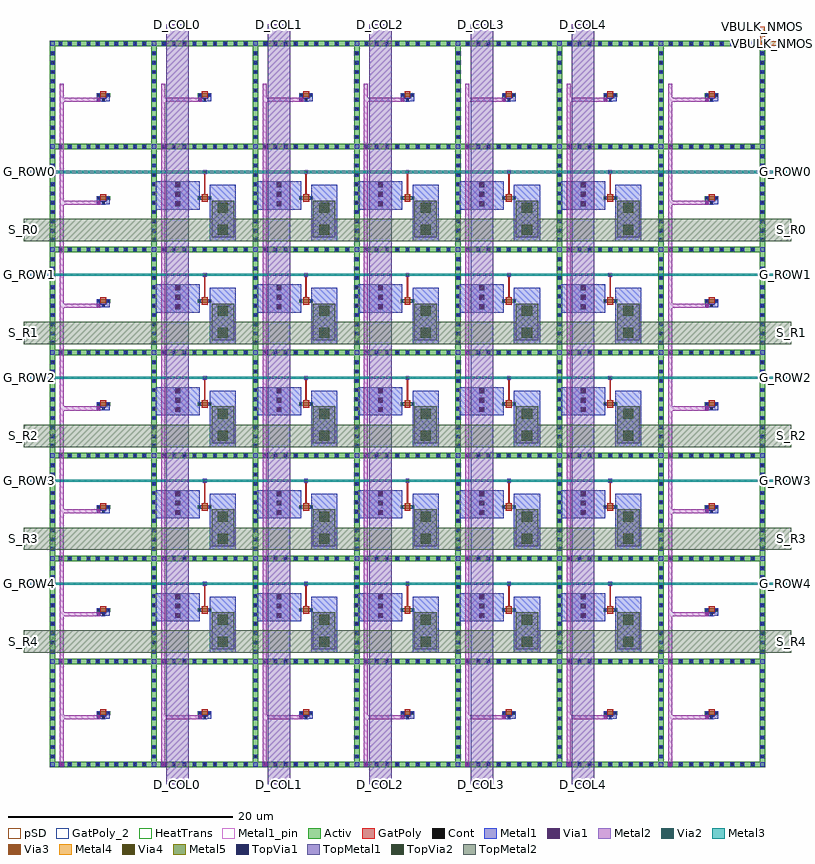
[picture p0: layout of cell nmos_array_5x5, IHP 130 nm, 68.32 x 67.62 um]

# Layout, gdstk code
import gdstk
lib = gdstk.Library(unit=1e-6, precision=1e-09)
def R(c, l, rs):  # rectangles x0, y0, x1, y1
    for r in rs: c.add(gdstk.rectangle(r[:2], r[2:], *l))
def A(c, l, x, y, w, h, nx, ny, dx, dy):  # array of equal rectangles
    R(c, l, [(x+i*dx, y+j*dy, x+i*dx+w, y+j*dy+h) for i in range(nx) for j in range(ny)])
Activ = (1, 0)
GatPoly = (5, 0)
GatPoly_2 = (5, 2)
Cont = (6, 0)
Metal1 = (8, 0)
Metal1_pin = (8, 2)
Metal2 = (10, 0)
pSD = (14, 0)
Via1 = (19, 0)
Via2 = (29, 0)
Metal3 = (30, 0)
Via3 = (49, 0)
Metal4 = (50, 0)
HeatTrans = (51, 0)
Via4 = (66, 0)
Metal5 = (67, 0)
TopVia1 = (125, 0)
TopMetal1 = (126, 0)
TopVia2 = (133, 0)
TopMetal2 = (134, 0)

nmos = lib.new_cell('nmos')
R(nmos, Activ, [(0,0,0.3,0.3), (0,0,1.2,0.3), (0.9,0,1.2,0.3)])
R(nmos, GatPoly, [(0.34,-0.18,0.86,0.48)])
R(nmos, GatPoly_2, [(0.34,-0.18,0.86,0.48)])
R(nmos, Cont, [(0.07,0.07,0.23,0.23), (0.97,0.07,1.13,0.23)])
R(nmos, Metal1, [(0.07,0,0.23,0.3), (0.97,0,1.13,0.3)])
R(nmos, Metal1_pin, [(0.07,0,0.23,0.3), (0.97,0,1.13,0.3)])
R(nmos, HeatTrans, [(0.34,-0.18,0.86,0.48)])
nmos.add(gdstk.Label('nmos', (0.6,0.15), layer=63, texttype=0))
nmos.add(gdstk.Label('nmos', (0.6,0.15), layer=51, texttype=0))

nmos_array_5x5 = lib.new_cell('nmos_array_5x5')
A(nmos_array_5x5, Activ, 0, 0, 0.5, 64.62, 8, 1, 9.02, 0)
A(nmos_array_5x5, Activ, 0, 0, 63.64, 0.5, 1, 8, 0, 9.16)
A(nmos_array_5x5, GatPoly, 4.695, 4.43, 0.13, 0.2, 7, 2, 9.02, 54.96)
A(nmos_array_5x5, GatPoly, 4.695, 13.59, 0.13, 0.2, 1, 5, 0, 9.16)
A(nmos_array_5x5, GatPoly, 58.815, 13.59, 0.13, 0.2, 1, 5, 0, 9.16)
A(nmos_array_5x5, GatPoly, 13.715, 14.32, 0.13, 2, 5, 5, 9.02, 9.16)
A(nmos_array_5x5, Cont, 0.83, 0.14, 0.22, 0.22, 10, 8, 0.83, 9.16)
A(nmos_array_5x5, Cont, 10.02, 0.14, 0.22, 0.22, 1, 8, 0, 9.16)
A(nmos_array_5x5, Cont, 10.932, 0.14, 0.22, 0.22, 1, 8, 0, 9.16)
A(nmos_array_5x5, Cont, 11.845, 0.14, 0.22, 0.22, 1, 8, 0, 9.16)
A(nmos_array_5x5, Cont, 12.757, 0.14, 0.22, 0.22, 1, 8, 0, 9.16)
A(nmos_array_5x5, Cont, 13.67, 0.14, 0.22, 0.22, 1, 8, 0, 9.16)
A(nmos_array_5x5, Cont, 14.582, 0.14, 0.22, 0.22, 1, 8, 0, 9.16)
A(nmos_array_5x5, Cont, 15.495, 0.14, 0.22, 0.22, 1, 8, 0, 9.16)
A(nmos_array_5x5, Cont, 16.407, 0.14, 0.22, 0.22, 1, 8, 0, 9.16)
A(nmos_array_5x5, Cont, 17.32, 0.14, 0.22, 0.22, 1, 8, 0, 9.16)
A(nmos_array_5x5, Cont, 19.04, 0.14, 0.22, 0.22, 1, 8, 0, 9.16)
A(nmos_array_5x5, Cont, 19.952, 0.14, 0.22, 0.22, 1, 8, 0, 9.16)
A(nmos_array_5x5, Cont, 20.865, 0.14, 0.22, 0.22, 1, 8, 0, 9.16)
A(nmos_array_5x5, Cont, 21.777, 0.14, 0.22, 0.22, 1, 8, 0, 9.16)
A(nmos_array_5x5, Cont, 22.69, 0.14, 0.22, 0.22, 1, 8, 0, 9.16)
A(nmos_array_5x5, Cont, 23.602, 0.14, 0.22, 0.22, 1, 8, 0, 9.16)
A(nmos_array_5x5, Cont, 24.515, 0.14, 0.22, 0.22, 1, 8, 0, 9.16)
A(nmos_array_5x5, Cont, 25.427, 0.14, 0.22, 0.22, 1, 8, 0, 9.16)
A(nmos_array_5x5, Cont, 26.34, 0.14, 0.22, 0.22, 1, 8, 0, 9.16)
A(nmos_array_5x5, Cont, 28.06, 0.14, 0.22, 0.22, 1, 8, 0, 9.16)
A(nmos_array_5x5, Cont, 28.972, 0.14, 0.22, 0.22, 1, 8, 0, 9.16)
A(nmos_array_5x5, Cont, 29.885, 0.14, 0.22, 0.22, 1, 8, 0, 9.16)
A(nmos_array_5x5, Cont, 30.797, 0.14, 0.22, 0.22, 1, 8, 0, 9.16)
A(nmos_array_5x5, Cont, 31.71, 0.14, 0.22, 0.22, 1, 8, 0, 9.16)
A(nmos_array_5x5, Cont, 32.622, 0.14, 0.22, 0.22, 1, 8, 0, 9.16)
A(nmos_array_5x5, Cont, 33.535, 0.14, 0.22, 0.22, 1, 8, 0, 9.16)
A(nmos_array_5x5, Cont, 34.447, 0.14, 0.22, 0.22, 1, 8, 0, 9.16)
A(nmos_array_5x5, Cont, 35.36, 0.14, 0.22, 0.22, 1, 8, 0, 9.16)
A(nmos_array_5x5, Cont, 37.08, 0.14, 0.22, 0.22, 1, 8, 0, 9.16)
A(nmos_array_5x5, Cont, 37.992, 0.14, 0.22, 0.22, 1, 8, 0, 9.16)
A(nmos_array_5x5, Cont, 38.905, 0.14, 0.22, 0.22, 1, 8, 0, 9.16)
A(nmos_array_5x5, Cont, 39.817, 0.14, 0.22, 0.22, 1, 8, 0, 9.16)
A(nmos_array_5x5, Cont, 40.73, 0.14, 0.22, 0.22, 1, 8, 0, 9.16)
A(nmos_array_5x5, Cont, 41.642, 0.14, 0.22, 0.22, 1, 8, 0, 9.16)
A(nmos_array_5x5, Cont, 42.555, 0.14, 0.22, 0.22, 1, 8, 0, 9.16)
A(nmos_array_5x5, Cont, 43.467, 0.14, 0.22, 0.22, 1, 8, 0, 9.16)
A(nmos_array_5x5, Cont, 44.38, 0.14, 0.22, 0.22, 1, 8, 0, 9.16)
A(nmos_array_5x5, Cont, 46.1, 0.14, 0.22, 0.22, 1, 8, 0, 9.16)
A(nmos_array_5x5, Cont, 47.012, 0.14, 0.22, 0.22, 1, 8, 0, 9.16)
A(nmos_array_5x5, Cont, 47.925, 0.14, 0.22, 0.22, 1, 8, 0, 9.16)
A(nmos_array_5x5, Cont, 48.837, 0.14, 0.22, 0.22, 1, 8, 0, 9.16)
A(nmos_array_5x5, Cont, 49.75, 0.14, 0.22, 0.22, 1, 8, 0, 9.16)
A(nmos_array_5x5, Cont, 50.662, 0.14, 0.22, 0.22, 1, 8, 0, 9.16)
A(nmos_array_5x5, Cont, 51.575, 0.14, 0.22, 0.22, 1, 8, 0, 9.16)
A(nmos_array_5x5, Cont, 52.487, 0.14, 0.22, 0.22, 1, 8, 0, 9.16)
A(nmos_array_5x5, Cont, 53.4, 0.14, 0.22, 0.22, 1, 8, 0, 9.16)
A(nmos_array_5x5, Cont, 55.12, 0.14, 0.22, 0.22, 1, 8, 0, 9.16)
A(nmos_array_5x5, Cont, 56.032, 0.14, 0.22, 0.22, 1, 8, 0, 9.16)
A(nmos_array_5x5, Cont, 56.945, 0.14, 0.22, 0.22, 1, 8, 0, 9.16)
A(nmos_array_5x5, Cont, 57.857, 0.14, 0.22, 0.22, 1, 8, 0, 9.16)
A(nmos_array_5x5, Cont, 59.682, 0.14, 0.22, 0.22, 1, 8, 0, 9.16)
A(nmos_array_5x5, Cont, 60.595, 0.14, 0.22, 0.22, 1, 8, 0, 9.16)
A(nmos_array_5x5, Cont, 61.507, 0.14, 0.22, 0.22, 1, 8, 0, 9.16)
A(nmos_array_5x5, Cont, 62.42, 0.14, 0.22, 0.22, 1, 8, 0, 9.16)
A(nmos_array_5x5, Cont, 0.14, 0.844, 0.22, 0.22, 8, 10, 9.02, 0.844)
A(nmos_array_5x5, Cont, 4.65, 4.32, 0.22, 0.22, 7, 2, 9.02, 54.96)
A(nmos_array_5x5, Cont, 0.14, 10.16, 0.22, 0.22, 8, 2, 9.02, 0.826)
A(nmos_array_5x5, Cont, 0.14, 11.813, 0.22, 0.22, 8, 2, 9.02, 0.827)
A(nmos_array_5x5, Cont, 0.14, 13.466, 0.22, 0.22, 8, 3, 9.02, 0.827)
A(nmos_array_5x5, Cont, 4.65, 13.48, 0.22, 0.22, 1, 5, 0, 9.16)
A(nmos_array_5x5, Cont, 0.14, 15.946, 0.22, 0.22, 8, 3, 9.02, 0.827)
A(nmos_array_5x5, Cont, 13.67, 16.21, 0.22, 0.22, 5, 5, 9.02, 9.16)
A(nmos_array_5x5, Cont, 0.14, 19.32, 0.22, 0.22, 8, 2, 9.02, 0.826)
A(nmos_array_5x5, Cont, 0.14, 20.973, 0.22, 0.22, 8, 2, 9.02, 0.827)
A(nmos_array_5x5, Cont, 0.14, 22.626, 0.22, 0.22, 8, 3, 9.02, 0.827)
A(nmos_array_5x5, Cont, 0.14, 25.106, 0.22, 0.22, 8, 3, 9.02, 0.827)
A(nmos_array_5x5, Cont, 0.14, 28.48, 0.22, 0.22, 8, 2, 9.02, 0.826)
A(nmos_array_5x5, Cont, 0.14, 30.133, 0.22, 0.22, 8, 2, 9.02, 0.827)
A(nmos_array_5x5, Cont, 0.14, 31.786, 0.22, 0.22, 8, 3, 9.02, 0.827)
A(nmos_array_5x5, Cont, 0.14, 34.266, 0.22, 0.22, 8, 3, 9.02, 0.827)
A(nmos_array_5x5, Cont, 0.14, 37.64, 0.22, 0.22, 8, 2, 9.02, 0.826)
A(nmos_array_5x5, Cont, 0.14, 39.293, 0.22, 0.22, 8, 2, 9.02, 0.827)
A(nmos_array_5x5, Cont, 0.14, 40.946, 0.22, 0.22, 8, 3, 9.02, 0.827)
A(nmos_array_5x5, Cont, 0.14, 43.426, 0.22, 0.22, 8, 3, 9.02, 0.827)
A(nmos_array_5x5, Cont, 0.14, 46.8, 0.22, 0.22, 8, 2, 9.02, 0.826)
A(nmos_array_5x5, Cont, 0.14, 48.453, 0.22, 0.22, 8, 2, 9.02, 0.827)
A(nmos_array_5x5, Cont, 0.14, 50.106, 0.22, 0.22, 8, 3, 9.02, 0.827)
A(nmos_array_5x5, Cont, 0.14, 52.586, 0.22, 0.22, 8, 3, 9.02, 0.827)
A(nmos_array_5x5, Cont, 0.14, 55.96, 0.22, 0.22, 8, 2, 9.02, 0.826)
A(nmos_array_5x5, Cont, 0.14, 57.613, 0.22, 0.22, 8, 2, 9.02, 0.827)
A(nmos_array_5x5, Cont, 0.14, 59.266, 0.22, 0.22, 8, 3, 9.02, 0.827)
A(nmos_array_5x5, Cont, 0.14, 61.746, 0.22, 0.22, 8, 3, 9.02, 0.827)
R(nmos_array_5x5, Cont, [(58.77,0.14,58.99,0.36), (58.77,9.3,58.99,9.52), (58.77,13.48,58.99,13.7), (58.77,18.46,58.99,18.68), (58.77,22.64,58.99,22.86), (58.77,27.62,58.99,27.84), (58.77,31.8,58.99,32.02), (58.77,36.78,58.99,37), (58.77,40.96,58.99,41.18), (58.77,45.94,58.99,46.16), (58.77,50.12,58.99,50.34), (58.77,55.1,58.99,55.32), (58.77,64.26,58.99,64.48)])
A(nmos_array_5x5, Metal1, 0.77, 0.08, 0.34, 0.34, 10, 8, 0.83, 9.16)
A(nmos_array_5x5, Metal1, 9.96, 0.08, 0.34, 0.34, 1, 8, 0, 9.16)
A(nmos_array_5x5, Metal1, 10.872, 0.08, 0.34, 0.34, 1, 8, 0, 9.16)
A(nmos_array_5x5, Metal1, 11.785, 0.08, 0.34, 0.34, 1, 8, 0, 9.16)
A(nmos_array_5x5, Metal1, 12.697, 0.08, 0.34, 0.34, 1, 8, 0, 9.16)
A(nmos_array_5x5, Metal1, 13.61, 0.08, 0.34, 0.34, 1, 8, 0, 9.16)
A(nmos_array_5x5, Metal1, 14.522, 0.08, 0.34, 0.34, 1, 8, 0, 9.16)
A(nmos_array_5x5, Metal1, 15.435, 0.08, 0.34, 0.34, 1, 8, 0, 9.16)
A(nmos_array_5x5, Metal1, 16.347, 0.08, 0.34, 0.34, 1, 8, 0, 9.16)
A(nmos_array_5x5, Metal1, 17.26, 0.08, 0.34, 0.34, 1, 8, 0, 9.16)
A(nmos_array_5x5, Metal1, 18.98, 0.08, 0.34, 0.34, 1, 8, 0, 9.16)
A(nmos_array_5x5, Metal1, 19.892, 0.08, 0.34, 0.34, 1, 8, 0, 9.16)
A(nmos_array_5x5, Metal1, 20.805, 0.08, 0.34, 0.34, 1, 8, 0, 9.16)
A(nmos_array_5x5, Metal1, 21.717, 0.08, 0.34, 0.34, 1, 8, 0, 9.16)
A(nmos_array_5x5, Metal1, 22.63, 0.08, 0.34, 0.34, 1, 8, 0, 9.16)
A(nmos_array_5x5, Metal1, 23.542, 0.08, 0.34, 0.34, 1, 8, 0, 9.16)
A(nmos_array_5x5, Metal1, 24.455, 0.08, 0.34, 0.34, 1, 8, 0, 9.16)
A(nmos_array_5x5, Metal1, 25.367, 0.08, 0.34, 0.34, 1, 8, 0, 9.16)
A(nmos_array_5x5, Metal1, 26.28, 0.08, 0.34, 0.34, 1, 8, 0, 9.16)
A(nmos_array_5x5, Metal1, 28, 0.08, 0.34, 0.34, 1, 8, 0, 9.16)
A(nmos_array_5x5, Metal1, 28.912, 0.08, 0.34, 0.34, 1, 8, 0, 9.16)
A(nmos_array_5x5, Metal1, 29.825, 0.08, 0.34, 0.34, 1, 8, 0, 9.16)
A(nmos_array_5x5, Metal1, 30.737, 0.08, 0.34, 0.34, 1, 8, 0, 9.16)
A(nmos_array_5x5, Metal1, 31.65, 0.08, 0.34, 0.34, 1, 8, 0, 9.16)
A(nmos_array_5x5, Metal1, 32.562, 0.08, 0.34, 0.34, 1, 8, 0, 9.16)
A(nmos_array_5x5, Metal1, 33.475, 0.08, 0.34, 0.34, 1, 8, 0, 9.16)
A(nmos_array_5x5, Metal1, 34.387, 0.08, 0.34, 0.34, 1, 8, 0, 9.16)
A(nmos_array_5x5, Metal1, 35.3, 0.08, 0.34, 0.34, 1, 8, 0, 9.16)
A(nmos_array_5x5, Metal1, 37.02, 0.08, 0.34, 0.34, 1, 8, 0, 9.16)
A(nmos_array_5x5, Metal1, 37.932, 0.08, 0.34, 0.34, 1, 8, 0, 9.16)
A(nmos_array_5x5, Metal1, 38.845, 0.08, 0.34, 0.34, 1, 8, 0, 9.16)
A(nmos_array_5x5, Metal1, 39.757, 0.08, 0.34, 0.34, 1, 8, 0, 9.16)
A(nmos_array_5x5, Metal1, 40.67, 0.08, 0.34, 0.34, 1, 8, 0, 9.16)
A(nmos_array_5x5, Metal1, 41.582, 0.08, 0.34, 0.34, 1, 8, 0, 9.16)
A(nmos_array_5x5, Metal1, 42.495, 0.08, 0.34, 0.34, 1, 8, 0, 9.16)
A(nmos_array_5x5, Metal1, 43.407, 0.08, 0.34, 0.34, 1, 8, 0, 9.16)
A(nmos_array_5x5, Metal1, 44.32, 0.08, 0.34, 0.34, 1, 8, 0, 9.16)
A(nmos_array_5x5, Metal1, 46.04, 0.08, 0.34, 0.34, 1, 8, 0, 9.16)
A(nmos_array_5x5, Metal1, 46.952, 0.08, 0.34, 0.34, 1, 8, 0, 9.16)
A(nmos_array_5x5, Metal1, 47.865, 0.08, 0.34, 0.34, 1, 8, 0, 9.16)
A(nmos_array_5x5, Metal1, 48.777, 0.08, 0.34, 0.34, 1, 8, 0, 9.16)
A(nmos_array_5x5, Metal1, 49.69, 0.08, 0.34, 0.34, 1, 8, 0, 9.16)
A(nmos_array_5x5, Metal1, 50.602, 0.08, 0.34, 0.34, 1, 8, 0, 9.16)
A(nmos_array_5x5, Metal1, 51.515, 0.08, 0.34, 0.34, 1, 8, 0, 9.16)
A(nmos_array_5x5, Metal1, 52.427, 0.08, 0.34, 0.34, 1, 8, 0, 9.16)
A(nmos_array_5x5, Metal1, 53.34, 0.08, 0.34, 0.34, 1, 8, 0, 9.16)
A(nmos_array_5x5, Metal1, 55.06, 0.08, 0.34, 0.34, 1, 8, 0, 9.16)
A(nmos_array_5x5, Metal1, 55.972, 0.08, 0.34, 0.34, 1, 8, 0, 9.16)
A(nmos_array_5x5, Metal1, 56.885, 0.08, 0.34, 0.34, 1, 8, 0, 9.16)
A(nmos_array_5x5, Metal1, 57.797, 0.08, 0.34, 0.34, 1, 8, 0, 9.16)
A(nmos_array_5x5, Metal1, 59.622, 0.08, 0.34, 0.34, 1, 8, 0, 9.16)
A(nmos_array_5x5, Metal1, 60.535, 0.08, 0.34, 0.34, 1, 8, 0, 9.16)
A(nmos_array_5x5, Metal1, 61.447, 0.08, 0.34, 0.34, 1, 8, 0, 9.16)
A(nmos_array_5x5, Metal1, 62.36, 0.08, 0.34, 0.34, 1, 8, 0, 9.16)
A(nmos_array_5x5, Metal1, 0.08, 0.784, 0.34, 0.34, 8, 10, 9.02, 0.844)
A(nmos_array_5x5, Metal1, 4.59, 4.26, 0.34, 0.34, 7, 2, 9.02, 54.96)
A(nmos_array_5x5, Metal1, 4.17, 4.29, 1.18, 0.28, 7, 2, 9.02, 54.96)
A(nmos_array_5x5, Metal1, 4.17, 4.29, 0.28, 0.68, 1, 7, 0, 9.16)
A(nmos_array_5x5, Metal1, 5.07, 4.29, 0.28, 0.68, 1, 7, 0, 9.16)
A(nmos_array_5x5, Metal1, 58.29, 4.29, 0.28, 0.68, 1, 7, 0, 9.16)
A(nmos_array_5x5, Metal1, 59.19, 4.29, 0.28, 0.68, 1, 7, 0, 9.16)
A(nmos_array_5x5, Metal1, 0.05, 9.21, 0.4, 0.4, 8, 7, 9.02, 9.16)
A(nmos_array_5x5, Metal1, 0.08, 10.1, 0.34, 0.34, 8, 2, 9.02, 0.826)
A(nmos_array_5x5, Metal1, 14.23, 10.16, 2.32, 5.02, 5, 5, 9.02, 9.16)
A(nmos_array_5x5, Metal1, 0.08, 11.753, 0.34, 0.34, 8, 2, 9.02, 0.827)
A(nmos_array_5x5, Metal1, 9.41, 12.971, 3.92, 2.499, 5, 5, 9.02, 9.16)
A(nmos_array_5x5, Metal1, 0.08, 13.406, 0.34, 0.34, 8, 3, 9.02, 0.827)
A(nmos_array_5x5, Metal1, 4.59, 13.42, 0.34, 0.34, 1, 5, 0, 9.16)
A(nmos_array_5x5, Metal1, 4.17, 13.45, 1.18, 0.28, 1, 5, 0, 9.16)
A(nmos_array_5x5, Metal1, 58.29, 13.45, 1.18, 0.28, 1, 5, 0, 9.16)
A(nmos_array_5x5, Metal1, 0.08, 15.886, 0.34, 0.34, 8, 3, 9.02, 0.827)
A(nmos_array_5x5, Metal1, 13.62, 16.16, 0.32, 0.32, 5, 5, 9.02, 9.16)
A(nmos_array_5x5, Metal1, 0.08, 19.26, 0.34, 0.34, 8, 2, 9.02, 0.826)
A(nmos_array_5x5, Metal1, 0.08, 20.913, 0.34, 0.34, 8, 2, 9.02, 0.827)
A(nmos_array_5x5, Metal1, 0.08, 22.566, 0.34, 0.34, 8, 3, 9.02, 0.827)
A(nmos_array_5x5, Metal1, 0.08, 25.046, 0.34, 0.34, 8, 3, 9.02, 0.827)
A(nmos_array_5x5, Metal1, 0.08, 28.42, 0.34, 0.34, 8, 2, 9.02, 0.826)
A(nmos_array_5x5, Metal1, 0.08, 30.073, 0.34, 0.34, 8, 2, 9.02, 0.827)
A(nmos_array_5x5, Metal1, 0.08, 31.726, 0.34, 0.34, 8, 3, 9.02, 0.827)
A(nmos_array_5x5, Metal1, 0.08, 34.206, 0.34, 0.34, 8, 3, 9.02, 0.827)
A(nmos_array_5x5, Metal1, 0.08, 37.58, 0.34, 0.34, 8, 2, 9.02, 0.826)
A(nmos_array_5x5, Metal1, 0.08, 39.233, 0.34, 0.34, 8, 2, 9.02, 0.827)
A(nmos_array_5x5, Metal1, 0.08, 40.886, 0.34, 0.34, 8, 3, 9.02, 0.827)
A(nmos_array_5x5, Metal1, 0.08, 43.366, 0.34, 0.34, 8, 3, 9.02, 0.827)
A(nmos_array_5x5, Metal1, 0.08, 46.74, 0.34, 0.34, 8, 2, 9.02, 0.826)
A(nmos_array_5x5, Metal1, 0.08, 48.393, 0.34, 0.34, 8, 2, 9.02, 0.827)
A(nmos_array_5x5, Metal1, 0.08, 50.046, 0.34, 0.34, 8, 3, 9.02, 0.827)
A(nmos_array_5x5, Metal1, 0.08, 52.526, 0.34, 0.34, 8, 3, 9.02, 0.827)
A(nmos_array_5x5, Metal1, 0.08, 55.9, 0.34, 0.34, 8, 2, 9.02, 0.826)
A(nmos_array_5x5, Metal1, 0.08, 57.553, 0.34, 0.34, 8, 2, 9.02, 0.827)
A(nmos_array_5x5, Metal1, 0.08, 59.206, 0.34, 0.34, 8, 3, 9.02, 0.827)
A(nmos_array_5x5, Metal1, 0.08, 61.686, 0.34, 0.34, 8, 3, 9.02, 0.827)
R(nmos_array_5x5, Metal1, [(0.05,0.05,0.45,0.45), (0.86,0.05,1.26,0.45), (9.07,0.05,9.47,0.45), (9.88,0.05,10.28,0.45), (18.09,0.05,18.49,0.45), (18.9,0.05,19.3,0.45), (27.11,0.05,27.51,0.45), (27.92,0.05,28.32,0.45), (36.13,0.05,36.53,0.45), (36.94,0.05,37.34,0.45), (45.15,0.05,45.55,0.45), (45.96,0.05,46.36,0.45), (54.17,0.05,54.57,0.45), (54.98,0.05,55.38,0.45), (63.19,0.05,63.59,0.45), (58.71,0.08,59.05,0.42), (13.19,4.29,13.47,4.97), (14.09,4.29,14.37,4.97), (22.21,4.29,22.49,4.97), (23.11,4.29,23.39,4.97), (31.23,4.29,31.51,4.97), (32.13,4.29,32.41,4.97), (40.25,4.29,40.53,4.97), (41.15,4.29,41.43,4.97), (49.27,4.29,49.55,4.97), (50.17,4.29,50.45,4.97), (58.71,9.24,59.05,9.58), (58.71,13.42,59.05,13.76), (58.71,18.4,59.05,18.74), (58.71,22.58,59.05,22.92), (58.71,27.56,59.05,27.9), (58.71,31.74,59.05,32.08), (58.71,36.72,59.05,37.06), (58.71,40.9,59.05,41.24), (58.71,45.88,59.05,46.22), (58.71,50.06,59.05,50.4), (58.71,55.04,59.05,55.38), (13.19,59.25,13.47,59.93), (14.09,59.25,14.37,59.93), (22.21,59.25,22.49,59.93), (23.11,59.25,23.39,59.93), (31.23,59.25,31.51,59.93), (32.13,59.25,32.41,59.93), (40.25,59.25,40.53,59.93), (41.15,59.25,41.43,59.93), (49.27,59.25,49.55,59.93), (50.17,59.25,50.45,59.93), (58.71,64.2,59.05,64.54)])
A(nmos_array_5x5, Metal2, 0.88, 0.07, 0.36, 60.72, 7, 1, 9.02, 0)
A(nmos_array_5x5, Metal2, 0.88, 4.25, 3.61, 0.36, 7, 2, 9.02, 54.96)
A(nmos_array_5x5, Metal2, 15.235, 11.005, 0.31, 0.31, 5, 2, 9.02, 1.96)
A(nmos_array_5x5, Metal2, 11.215, 13.335, 0.31, 0.31, 5, 3, 9.02, 0.84)
A(nmos_array_5x5, Metal2, 0.88, 13.41, 3.61, 0.36, 1, 5, 0, 9.16)
A(nmos_array_5x5, Metal2, 55, 13.41, 3.61, 0.36, 1, 5, 0, 9.16)
A(nmos_array_5x5, Metal2, 13.635, 16.175, 0.29, 0.29, 5, 5, 9.02, 9.16)
A(nmos_array_5x5, Metal2, 15.235, 20.165, 0.31, 0.31, 5, 2, 9.02, 1.96)
A(nmos_array_5x5, Metal2, 11.215, 22.495, 0.31, 0.31, 5, 3, 9.02, 0.84)
A(nmos_array_5x5, Metal2, 15.235, 29.325, 0.31, 0.31, 5, 2, 9.02, 1.96)
A(nmos_array_5x5, Metal2, 11.215, 31.655, 0.31, 0.31, 5, 3, 9.02, 0.84)
A(nmos_array_5x5, Metal2, 15.235, 38.485, 0.31, 0.31, 5, 2, 9.02, 1.96)
A(nmos_array_5x5, Metal2, 11.215, 40.815, 0.31, 0.31, 5, 3, 9.02, 0.84)
A(nmos_array_5x5, Metal2, 15.235, 47.645, 0.31, 0.31, 5, 2, 9.02, 1.96)
A(nmos_array_5x5, Metal2, 11.215, 49.975, 0.31, 0.31, 5, 3, 9.02, 0.84)
R(nmos_array_5x5, Metal2, [(63.21,64.19,63.57,64.55)])
A(nmos_array_5x5, pSD, 0, 0, 0.5, 64.62, 8, 1, 9.02, 0)
A(nmos_array_5x5, pSD, 0, 0, 63.64, 0.5, 1, 8, 0, 9.16)
A(nmos_array_5x5, Via1, 0.965, 0.155, 0.19, 0.19, 7, 1, 9.02, 0)
A(nmos_array_5x5, Via1, 4.215, 4.335, 0.19, 0.19, 7, 2, 9.02, 54.96)
A(nmos_array_5x5, Via1, 15.295, 11.065, 0.19, 0.19, 5, 2, 9.02, 1.96)
A(nmos_array_5x5, Via1, 11.275, 13.395, 0.19, 0.19, 5, 3, 9.02, 0.84)
A(nmos_array_5x5, Via1, 4.215, 13.495, 0.19, 0.19, 1, 5, 0, 9.16)
A(nmos_array_5x5, Via1, 58.335, 13.495, 0.19, 0.19, 1, 5, 0, 9.16)
A(nmos_array_5x5, Via1, 13.685, 16.225, 0.19, 0.19, 5, 5, 9.02, 9.16)
A(nmos_array_5x5, Via1, 15.295, 20.225, 0.19, 0.19, 5, 2, 9.02, 1.96)
A(nmos_array_5x5, Via1, 11.275, 22.555, 0.19, 0.19, 5, 3, 9.02, 0.84)
A(nmos_array_5x5, Via1, 15.295, 29.385, 0.19, 0.19, 5, 2, 9.02, 1.96)
A(nmos_array_5x5, Via1, 11.275, 31.715, 0.19, 0.19, 5, 3, 9.02, 0.84)
A(nmos_array_5x5, Via1, 15.295, 38.545, 0.19, 0.19, 5, 2, 9.02, 1.96)
A(nmos_array_5x5, Via1, 11.275, 40.875, 0.19, 0.19, 5, 3, 9.02, 0.84)
A(nmos_array_5x5, Via1, 15.295, 47.705, 0.19, 0.19, 5, 2, 9.02, 1.96)
A(nmos_array_5x5, Via1, 11.275, 50.035, 0.19, 0.19, 5, 3, 9.02, 0.84)
R(nmos_array_5x5, Via1, [(63.295,64.275,63.485,64.465)])
A(nmos_array_5x5, Via2, 15.295, 11.065, 0.19, 0.19, 5, 2, 9.02, 1.96)
A(nmos_array_5x5, Via2, 11.275, 13.395, 0.19, 0.19, 5, 3, 9.02, 0.84)
A(nmos_array_5x5, Via2, 13.685, 16.225, 0.19, 0.19, 5, 5, 9.02, 9.16)
A(nmos_array_5x5, Via2, 15.295, 20.225, 0.19, 0.19, 5, 2, 9.02, 1.96)
A(nmos_array_5x5, Via2, 11.275, 22.555, 0.19, 0.19, 5, 3, 9.02, 0.84)
A(nmos_array_5x5, Via2, 15.295, 29.385, 0.19, 0.19, 5, 2, 9.02, 1.96)
A(nmos_array_5x5, Via2, 11.275, 31.715, 0.19, 0.19, 5, 3, 9.02, 0.84)
A(nmos_array_5x5, Via2, 15.295, 38.545, 0.19, 0.19, 5, 2, 9.02, 1.96)
A(nmos_array_5x5, Via2, 11.275, 40.875, 0.19, 0.19, 5, 3, 9.02, 0.84)
A(nmos_array_5x5, Via2, 15.295, 47.705, 0.19, 0.19, 5, 2, 9.02, 1.96)
A(nmos_array_5x5, Via2, 11.275, 50.035, 0.19, 0.19, 5, 3, 9.02, 0.84)
R(nmos_array_5x5, Via2, [(63.295,64.275,63.485,64.465)])
A(nmos_array_5x5, Metal3, 15.235, 11.005, 0.31, 0.31, 5, 2, 9.02, 1.96)
A(nmos_array_5x5, Metal3, 11.215, 13.335, 0.31, 0.31, 5, 3, 9.02, 0.84)
A(nmos_array_5x5, Metal3, -1.94, 16.22, 67.52, 0.2, 1, 5, 0, 9.16)
A(nmos_array_5x5, Metal3, 13.68, 16.22, 0.2, 0.2, 5, 5, 9.02, 9.16)
A(nmos_array_5x5, Metal3, 15.235, 20.165, 0.31, 0.31, 5, 2, 9.02, 1.96)
A(nmos_array_5x5, Metal3, 11.215, 22.495, 0.31, 0.31, 5, 3, 9.02, 0.84)
A(nmos_array_5x5, Metal3, 15.235, 29.325, 0.31, 0.31, 5, 2, 9.02, 1.96)
A(nmos_array_5x5, Metal3, 11.215, 31.655, 0.31, 0.31, 5, 3, 9.02, 0.84)
A(nmos_array_5x5, Metal3, 15.235, 38.485, 0.31, 0.31, 5, 2, 9.02, 1.96)
A(nmos_array_5x5, Metal3, 11.215, 40.815, 0.31, 0.31, 5, 3, 9.02, 0.84)
A(nmos_array_5x5, Metal3, 15.235, 47.645, 0.31, 0.31, 5, 2, 9.02, 1.96)
A(nmos_array_5x5, Metal3, 11.215, 49.975, 0.31, 0.31, 5, 3, 9.02, 0.84)
R(nmos_array_5x5, Metal3, [(63.29,64.27,63.49,64.47)])
A(nmos_array_5x5, Via3, 15.295, 11.065, 0.19, 0.19, 5, 2, 9.02, 1.96)
A(nmos_array_5x5, Via3, 11.275, 13.395, 0.19, 0.19, 5, 3, 9.02, 0.84)
A(nmos_array_5x5, Via3, 15.295, 20.225, 0.19, 0.19, 5, 2, 9.02, 1.96)
A(nmos_array_5x5, Via3, 11.275, 22.555, 0.19, 0.19, 5, 3, 9.02, 0.84)
A(nmos_array_5x5, Via3, 15.295, 29.385, 0.19, 0.19, 5, 2, 9.02, 1.96)
A(nmos_array_5x5, Via3, 11.275, 31.715, 0.19, 0.19, 5, 3, 9.02, 0.84)
A(nmos_array_5x5, Via3, 15.295, 38.545, 0.19, 0.19, 5, 2, 9.02, 1.96)
A(nmos_array_5x5, Via3, 11.275, 40.875, 0.19, 0.19, 5, 3, 9.02, 0.84)
A(nmos_array_5x5, Via3, 15.295, 47.705, 0.19, 0.19, 5, 2, 9.02, 1.96)
A(nmos_array_5x5, Via3, 11.275, 50.035, 0.19, 0.19, 5, 3, 9.02, 0.84)
R(nmos_array_5x5, Via3, [(63.295,64.275,63.485,64.465)])
A(nmos_array_5x5, Metal4, 15.235, 11.005, 0.31, 0.31, 5, 2, 9.02, 1.96)
A(nmos_array_5x5, Metal4, 11.215, 13.335, 0.31, 0.31, 5, 3, 9.02, 0.84)
A(nmos_array_5x5, Metal4, 15.235, 20.165, 0.31, 0.31, 5, 2, 9.02, 1.96)
A(nmos_array_5x5, Metal4, 11.215, 22.495, 0.31, 0.31, 5, 3, 9.02, 0.84)
A(nmos_array_5x5, Metal4, 15.235, 29.325, 0.31, 0.31, 5, 2, 9.02, 1.96)
A(nmos_array_5x5, Metal4, 11.215, 31.655, 0.31, 0.31, 5, 3, 9.02, 0.84)
A(nmos_array_5x5, Metal4, 15.235, 38.485, 0.31, 0.31, 5, 2, 9.02, 1.96)
A(nmos_array_5x5, Metal4, 11.215, 40.815, 0.31, 0.31, 5, 3, 9.02, 0.84)
A(nmos_array_5x5, Metal4, 15.235, 47.645, 0.31, 0.31, 5, 2, 9.02, 1.96)
A(nmos_array_5x5, Metal4, 11.215, 49.975, 0.31, 0.31, 5, 3, 9.02, 0.84)
R(nmos_array_5x5, Metal4, [(63.19,64.17,64.89,64.57), (63.19,64.17,63.59,65.87)])
A(nmos_array_5x5, Via4, 15.295, 11.065, 0.19, 0.19, 5, 2, 9.02, 1.96)
A(nmos_array_5x5, Via4, 11.275, 13.395, 0.19, 0.19, 5, 3, 9.02, 0.84)
A(nmos_array_5x5, Via4, 15.295, 20.225, 0.19, 0.19, 5, 2, 9.02, 1.96)
A(nmos_array_5x5, Via4, 11.275, 22.555, 0.19, 0.19, 5, 3, 9.02, 0.84)
A(nmos_array_5x5, Via4, 15.295, 29.385, 0.19, 0.19, 5, 2, 9.02, 1.96)
A(nmos_array_5x5, Via4, 11.275, 31.715, 0.19, 0.19, 5, 3, 9.02, 0.84)
A(nmos_array_5x5, Via4, 15.295, 38.545, 0.19, 0.19, 5, 2, 9.02, 1.96)
A(nmos_array_5x5, Via4, 11.275, 40.875, 0.19, 0.19, 5, 3, 9.02, 0.84)
A(nmos_array_5x5, Via4, 15.295, 47.705, 0.19, 0.19, 5, 2, 9.02, 1.96)
A(nmos_array_5x5, Via4, 11.275, 50.035, 0.19, 0.19, 5, 3, 9.02, 0.84)
A(nmos_array_5x5, Metal5, 15.235, 11.005, 0.31, 0.31, 5, 2, 9.02, 1.96)
A(nmos_array_5x5, Metal5, 11.215, 13.335, 0.31, 0.31, 5, 3, 9.02, 0.84)
A(nmos_array_5x5, Metal5, 15.235, 20.165, 0.31, 0.31, 5, 2, 9.02, 1.96)
A(nmos_array_5x5, Metal5, 11.215, 22.495, 0.31, 0.31, 5, 3, 9.02, 0.84)
A(nmos_array_5x5, Metal5, 15.235, 29.325, 0.31, 0.31, 5, 2, 9.02, 1.96)
A(nmos_array_5x5, Metal5, 11.215, 31.655, 0.31, 0.31, 5, 3, 9.02, 0.84)
A(nmos_array_5x5, Metal5, 15.235, 38.485, 0.31, 0.31, 5, 2, 9.02, 1.96)
A(nmos_array_5x5, Metal5, 11.215, 40.815, 0.31, 0.31, 5, 3, 9.02, 0.84)
A(nmos_array_5x5, Metal5, 15.235, 47.645, 0.31, 0.31, 5, 2, 9.02, 1.96)
A(nmos_array_5x5, Metal5, 11.215, 49.975, 0.31, 0.31, 5, 3, 9.02, 0.84)
A(nmos_array_5x5, TopVia1, 15.18, 10.95, 0.42, 0.42, 5, 2, 9.02, 1.96)
A(nmos_array_5x5, TopVia1, 11.16, 13.28, 0.42, 0.42, 5, 3, 9.02, 0.84)
A(nmos_array_5x5, TopVia1, 15.18, 20.11, 0.42, 0.42, 5, 2, 9.02, 1.96)
A(nmos_array_5x5, TopVia1, 11.16, 22.44, 0.42, 0.42, 5, 3, 9.02, 0.84)
A(nmos_array_5x5, TopVia1, 15.18, 29.27, 0.42, 0.42, 5, 2, 9.02, 1.96)
A(nmos_array_5x5, TopVia1, 11.16, 31.6, 0.42, 0.42, 5, 3, 9.02, 0.84)
A(nmos_array_5x5, TopVia1, 15.18, 38.43, 0.42, 0.42, 5, 2, 9.02, 1.96)
A(nmos_array_5x5, TopVia1, 11.16, 40.76, 0.42, 0.42, 5, 3, 9.02, 0.84)
A(nmos_array_5x5, TopVia1, 15.18, 47.59, 0.42, 0.42, 5, 2, 9.02, 1.96)
A(nmos_array_5x5, TopVia1, 11.16, 49.92, 0.42, 0.42, 5, 3, 9.02, 0.84)
A(nmos_array_5x5, TopMetal1, 10.37, -1.5, 2, 67.62, 5, 1, 9.02, 0)
A(nmos_array_5x5, TopMetal1, 14.39, 10.51, 2, 3.26, 5, 5, 9.02, 9.16)
A(nmos_array_5x5, TopMetal1, 10.37, 13.18, 2, 2.3, 5, 5, 9.02, 9.16)
A(nmos_array_5x5, TopVia2, 14.94, 10.71, 0.9, 0.9, 5, 2, 9.02, 1.96)
A(nmos_array_5x5, TopVia2, 14.94, 19.87, 0.9, 0.9, 5, 2, 9.02, 1.96)
A(nmos_array_5x5, TopVia2, 14.94, 29.03, 0.9, 0.9, 5, 2, 9.02, 1.96)
A(nmos_array_5x5, TopVia2, 14.94, 38.19, 0.9, 0.9, 5, 2, 9.02, 1.96)
A(nmos_array_5x5, TopVia2, 14.94, 47.35, 0.9, 0.9, 5, 2, 9.02, 1.96)
A(nmos_array_5x5, TopMetal2, -2.34, 10.16, 68.32, 2, 1, 5, 0, 9.16)
A(nmos_array_5x5, TopMetal2, 14.39, 10.51, 2, 3.26, 5, 5, 9.02, 9.16)
nmos_array_5x5.add(gdstk.Reference(nmos, (4.16,4.68)))
nmos_array_5x5.add(gdstk.Reference(nmos, (13.18,4.68)))
nmos_array_5x5.add(gdstk.Reference(nmos, (22.2,4.68)))
nmos_array_5x5.add(gdstk.Reference(nmos, (31.22,4.68)))
nmos_array_5x5.add(gdstk.Reference(nmos, (40.24,4.68)))
nmos_array_5x5.add(gdstk.Reference(nmos, (49.26,4.68)))
nmos_array_5x5.add(gdstk.Reference(nmos, (58.28,4.68)))
nmos_array_5x5.add(gdstk.Reference(nmos, (4.16,13.84)))
nmos_array_5x5.add(gdstk.Reference(nmos, (13.18,13.84)))
nmos_array_5x5.add(gdstk.Reference(nmos, (22.2,13.84)))
nmos_array_5x5.add(gdstk.Reference(nmos, (31.22,13.84)))
nmos_array_5x5.add(gdstk.Reference(nmos, (40.24,13.84)))
nmos_array_5x5.add(gdstk.Reference(nmos, (49.26,13.84)))
nmos_array_5x5.add(gdstk.Reference(nmos, (58.28,13.84)))
nmos_array_5x5.add(gdstk.Reference(nmos, (4.16,23)))
nmos_array_5x5.add(gdstk.Reference(nmos, (13.18,23)))
nmos_array_5x5.add(gdstk.Reference(nmos, (22.2,23)))
nmos_array_5x5.add(gdstk.Reference(nmos, (31.22,23)))
nmos_array_5x5.add(gdstk.Reference(nmos, (40.24,23)))
nmos_array_5x5.add(gdstk.Reference(nmos, (49.26,23)))
nmos_array_5x5.add(gdstk.Reference(nmos, (58.28,23)))
nmos_array_5x5.add(gdstk.Reference(nmos, (4.16,32.16)))
nmos_array_5x5.add(gdstk.Reference(nmos, (13.18,32.16)))
nmos_array_5x5.add(gdstk.Reference(nmos, (22.2,32.16)))
nmos_array_5x5.add(gdstk.Reference(nmos, (31.22,32.16)))
nmos_array_5x5.add(gdstk.Reference(nmos, (40.24,32.16)))
nmos_array_5x5.add(gdstk.Reference(nmos, (49.26,32.16)))
nmos_array_5x5.add(gdstk.Reference(nmos, (58.28,32.16)))
nmos_array_5x5.add(gdstk.Reference(nmos, (4.16,41.32)))
nmos_array_5x5.add(gdstk.Reference(nmos, (13.18,41.32)))
nmos_array_5x5.add(gdstk.Reference(nmos, (22.2,41.32)))
nmos_array_5x5.add(gdstk.Reference(nmos, (31.22,41.32)))
nmos_array_5x5.add(gdstk.Reference(nmos, (40.24,41.32)))
nmos_array_5x5.add(gdstk.Reference(nmos, (49.26,41.32)))
nmos_array_5x5.add(gdstk.Reference(nmos, (58.28,41.32)))
nmos_array_5x5.add(gdstk.Reference(nmos, (4.16,50.48)))
nmos_array_5x5.add(gdstk.Reference(nmos, (13.18,50.48)))
nmos_array_5x5.add(gdstk.Reference(nmos, (22.2,50.48)))
nmos_array_5x5.add(gdstk.Reference(nmos, (31.22,50.48)))
nmos_array_5x5.add(gdstk.Reference(nmos, (40.24,50.48)))
nmos_array_5x5.add(gdstk.Reference(nmos, (49.26,50.48)))
nmos_array_5x5.add(gdstk.Reference(nmos, (58.28,50.48)))
nmos_array_5x5.add(gdstk.Reference(nmos, (4.16,59.64)))
nmos_array_5x5.add(gdstk.Reference(nmos, (13.18,59.64)))
nmos_array_5x5.add(gdstk.Reference(nmos, (22.2,59.64)))
nmos_array_5x5.add(gdstk.Reference(nmos, (31.22,59.64)))
nmos_array_5x5.add(gdstk.Reference(nmos, (40.24,59.64)))
nmos_array_5x5.add(gdstk.Reference(nmos, (49.26,59.64)))
nmos_array_5x5.add(gdstk.Reference(nmos, (58.28,59.64)))
nmos_array_5x5.add(gdstk.Label('VBULK_NMOS', (64.89,64.37), layer=63, texttype=0))
nmos_array_5x5.add(gdstk.Label('VBULK_NMOS', (63.39,65.87), layer=63, texttype=0))
nmos_array_5x5.add(gdstk.Label('G_ROW4', (-1.84,16.32), layer=63, texttype=0))
nmos_array_5x5.add(gdstk.Label('G_ROW4', (65.48,16.32), layer=63, texttype=0))
nmos_array_5x5.add(gdstk.Label('G_ROW3', (-1.84,25.48), layer=63, texttype=0))
nmos_array_5x5.add(gdstk.Label('G_ROW3', (65.48,25.48), layer=63, texttype=0))
nmos_array_5x5.add(gdstk.Label('G_ROW2', (-1.84,34.64), layer=63, texttype=0))
nmos_array_5x5.add(gdstk.Label('G_ROW2', (65.48,34.64), layer=63, texttype=0))
nmos_array_5x5.add(gdstk.Label('G_ROW1', (-1.84,43.8), layer=63, texttype=0))
nmos_array_5x5.add(gdstk.Label('G_ROW1', (65.48,43.8), layer=63, texttype=0))
nmos_array_5x5.add(gdstk.Label('G_ROW0', (-1.84,52.96), layer=63, texttype=0))
nmos_array_5x5.add(gdstk.Label('G_ROW0', (65.48,52.96), layer=63, texttype=0))
nmos_array_5x5.add(gdstk.Label('D_COL0', (11.37,-1.5), layer=63, texttype=0))
nmos_array_5x5.add(gdstk.Label('D_COL0', (11.37,66.12), layer=63, texttype=0))
nmos_array_5x5.add(gdstk.Label('D_COL1', (20.39,-1.5), layer=63, texttype=0))
nmos_array_5x5.add(gdstk.Label('D_COL1', (20.39,66.12), layer=63, texttype=0))
nmos_array_5x5.add(gdstk.Label('D_COL2', (29.41,-1.5), layer=63, texttype=0))
nmos_array_5x5.add(gdstk.Label('D_COL2', (29.41,66.12), layer=63, texttype=0))
nmos_array_5x5.add(gdstk.Label('D_COL3', (38.43,-1.5), layer=63, texttype=0))
nmos_array_5x5.add(gdstk.Label('D_COL3', (38.43,66.12), layer=63, texttype=0))
nmos_array_5x5.add(gdstk.Label('D_COL4', (47.45,-1.5), layer=63, texttype=0))
nmos_array_5x5.add(gdstk.Label('D_COL4', (47.45,66.12), layer=63, texttype=0))
nmos_array_5x5.add(gdstk.Label('S_R4', (-2.34,11.16), layer=63, texttype=0))
nmos_array_5x5.add(gdstk.Label('S_R4', (65.98,11.16), layer=63, texttype=0))
nmos_array_5x5.add(gdstk.Label('S_R3', (-2.34,20.32), layer=63, texttype=0))
nmos_array_5x5.add(gdstk.Label('S_R3', (65.98,20.32), layer=63, texttype=0))
nmos_array_5x5.add(gdstk.Label('S_R2', (-2.34,29.48), layer=63, texttype=0))
nmos_array_5x5.add(gdstk.Label('S_R2', (65.98,29.48), layer=63, texttype=0))
nmos_array_5x5.add(gdstk.Label('S_R1', (-2.34,38.64), layer=63, texttype=0))
nmos_array_5x5.add(gdstk.Label('S_R1', (65.98,38.64), layer=63, texttype=0))
nmos_array_5x5.add(gdstk.Label('S_R0', (-2.34,47.8), layer=63, texttype=0))
nmos_array_5x5.add(gdstk.Label('S_R0', (65.98,47.8), layer=63, texttype=0))

lib.write_gds('nmos_array_5x5.gds')
